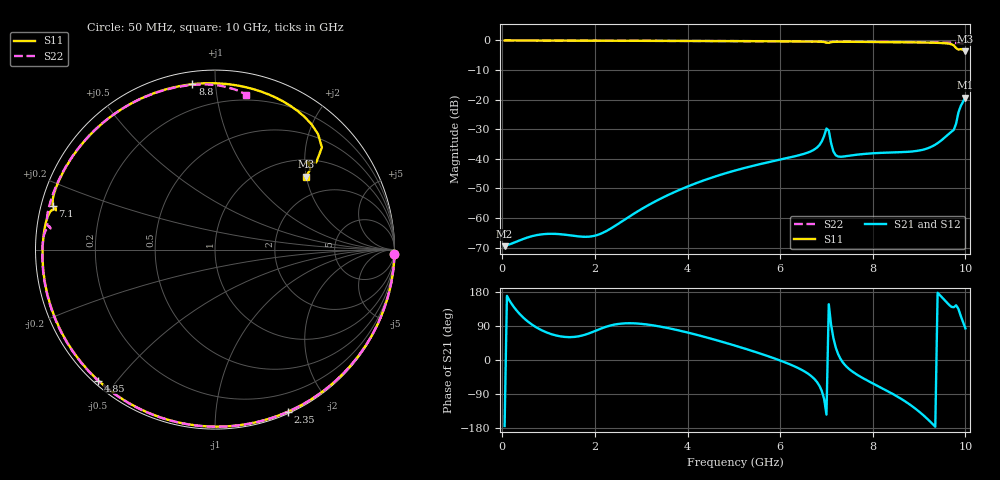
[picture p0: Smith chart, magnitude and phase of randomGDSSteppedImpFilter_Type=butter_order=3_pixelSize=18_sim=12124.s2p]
! freq	dB(S11)	phase(S11)	dB(S12)	phase(S12)
!  dB(S21)	phase(S21)	dB(S22)	phase(S22)
!S-par simulation data
#  GHz  S  DB  R 50
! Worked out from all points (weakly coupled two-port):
!   200 points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, 50 MHz to 10 GHz, reference 50 ohm
!   highest |S21| = -19.34 dB at 10 GHz (marker M1); lowest = -69.5 dB at 50 MHz (marker M2)
!   lowest |S11| = -3.7 dB at 10 GHz (marker M3), VSWR 4.74, Z = 70.9 + j100 ohm
!   |S11| at or under -10 dB: nowhere
!   |S22| runs from -1.1 to 0.0 dB; largest |S21 - S12| = 0
!   S11 on the Smith chart (normalised r, x): 50 MHz: 0, -79; 2.35 GHz: 0.02, -1.54; 4.85 GHz: 0.01, -0.45; 7.1 GHz: 0.03, +0.13; 8.8 GHz: 0.06, +0.87; 10 GHz: 1.42, +2.00
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0.05  -0.00 -1.4  -69.55 -174.3  -69.55 -174.3  -0.00 -1.5
0.85  -0.03 -24.3  -65.55 78.5  -65.55 78.5  -0.03 -25.1
1.75  -0.06 -49.5  -66.36 65.4  -66.36 65.4  -0.06 -50.9
2.35  -0.08 -65.8  -63.51 91.5  -63.51 91.5  -0.08 -67.5
3.4  -0.12 -93.8  -53.63 88.5  -53.63 88.5  -0.12 -95.4
4.85  -0.20 -131.7  -44.76 44.4  -44.76 44.4  -0.19 -132.0
5.05  -0.21 -137.0  -43.86 37.1  -43.86 37.1  -0.20 -137.0
5.95  -0.29 -161.8  -40.45 0.9  -40.45 0.9  -0.26 -159.6
6.7  -0.37 175.7  -37.20 -45.5  -37.20 -45.5  -0.33 -179.1
6.9  -0.44 168.8  -34.12 -81.9  -34.12 -81.9  -0.39 175.1
7  -0.74 165.3  -29.78 -144.1  -29.78 -144.1  -0.63 172.1
7.05  -0.80 166.1  -30.44 147.1  -30.44 147.1  -0.69 172.6
7.1  -0.56 164.8  -34.73 92.9  -34.73 92.9  -0.50 171.7
7.15  -0.48 162.8  -37.56 57.7  -37.56 57.7  -0.43 170.1
7.25  -0.44 159.0  -39.23 16.0  -39.23 16.0  -0.40 167.0
7.8  -0.49 139.1  -38.39 -48.7  -38.39 -48.7  -0.44 151.0
8.35  -0.56 117.3  -37.89 -84.0  -37.89 -84.0  -0.50 134.5
8.8  -0.63 97.8  -37.60 -117.5  -37.60 -117.5  -0.55 120.1
9.4  -0.80 68.1  -34.72 177.5  -34.72 177.5  -0.65 99.7
9.75  -1.69 43.7  -30.20 139.2  -30.20 139.2  -0.81 86.9
9.85  -3.10 43.6  -24.31 134.6  -24.31 134.6  -0.91 83.4
10  -3.72 38.6  -19.34 83.5  -19.34 83.5  -1.13 78.6
